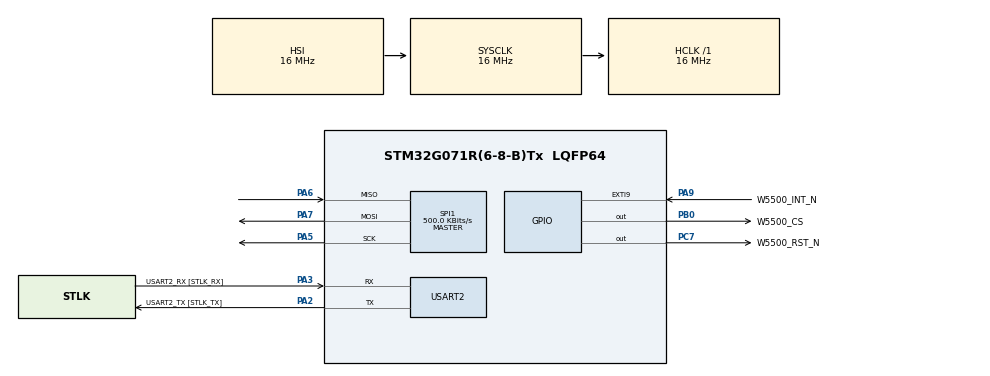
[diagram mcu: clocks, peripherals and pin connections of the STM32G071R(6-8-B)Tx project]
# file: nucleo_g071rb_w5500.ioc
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Dma.Request0=SPI1_TX
Dma.Request1=SPI1_RX
Dma.SPI1_RX.1.Direction=DMA_PERIPH_TO_MEMORY
Dma.SPI1_RX.1.EventEnable=DISABLE
Dma.SPI1_RX.1.Instance=DMA1_Channel2
Dma.SPI1_RX.1.MemDataAlignment=DMA_MDATAALIGN_BYTE
Dma.SPI1_RX.1.MemInc=DMA_MINC_ENABLE
Dma.SPI1_RX.1.Mode=DMA_NORMAL
Dma.SPI1_RX.1.PeriphDataAlignment=DMA_PDATAALIGN_BYTE
Dma.SPI1_RX.1.PeriphInc=DMA_PINC_DISABLE
Dma.SPI1_RX.1.Polarity=HAL_DMAMUX_REQ_GEN_RISING
Dma.SPI1_RX.1.Priority=DMA_PRIORITY_HIGH
Dma.SPI1_RX.1.RequestNumber=1
Dma.SPI1_RX.1.SignalID=NONE
Dma.SPI1_RX.1.SyncEnable=DISABLE
Dma.SPI1_RX.1.SyncPolarity=HAL_DMAMUX_SYNC_NO_EVENT
Dma.SPI1_RX.1.SyncRequestNumber=1
Dma.SPI1_RX.1.SyncSignalID=NONE
Dma.SPI1_TX.0.Direction=DMA_MEMORY_TO_PERIPH
Dma.SPI1_TX.0.EventEnable=DISABLE
Dma.SPI1_TX.0.Instance=DMA1_Channel3
Dma.SPI1_TX.0.MemDataAlignment=DMA_MDATAALIGN_BYTE
Dma.SPI1_TX.0.MemInc=DMA_MINC_ENABLE
Dma.SPI1_TX.0.Mode=DMA_NORMAL
Dma.SPI1_TX.0.PeriphDataAlignment=DMA_PDATAALIGN_BYTE
Dma.SPI1_TX.0.PeriphInc=DMA_PINC_DISABLE
Dma.SPI1_TX.0.Polarity=HAL_DMAMUX_REQ_GEN_RISING
Dma.SPI1_TX.0.Priority=DMA_PRIORITY_LOW
Dma.SPI1_TX.0.RequestNumber=1
Dma.SPI1_TX.0.SignalID=NONE
Dma.SPI1_TX.0.SyncEnable=DISABLE
Dma.SPI1_TX.0.SyncPolarity=HAL_DMAMUX_SYNC_NO_EVENT
Dma.SPI1_TX.0.SyncRequestNumber=1
Dma.SPI1_TX.0.SyncSignalID=NONE
FREERTOS.HEAP_NUMBER=4
FREERTOS.INCLUDE_eTaskGetState=1
FREERTOS.INCLUDE_pcTaskGetTaskName=0
FREERTOS.INCLUDE_uxTaskGetStackHighWaterMark=1
FREERTOS.INCLUDE_uxTaskGetStackHighWaterMark2=0
FREERTOS.INCLUDE_uxTaskPriorityGet=1
FREERTOS.INCLUDE_vTaskCleanUpResources=1
FREERTOS.INCLUDE_vTaskDelay=1
FREERTOS.INCLUDE_vTaskDelayUntil=1
FREERTOS.INCLUDE_vTaskDelete=1
FREERTOS.INCLUDE_vTaskPrioritySet=1
FREERTOS.INCLUDE_vTaskSuspend=1
FREERTOS.INCLUDE_xEventGroupSetBitFromISR=0
FREERTOS.INCLUDE_xQueueGetMutexHolder=1
FREERTOS.INCLUDE_xSemaphoreGetMutexHolder=0
FREERTOS.INCLUDE_xTaskAbortDelay=0
FREERTOS.INCLUDE_xTaskGetHandle=0
FREERTOS.INCLUDE_xTaskGetSchedulerState=1
FREERTOS.INCLUDE_xTaskResumeFromISR=1
FREERTOS.INCLUDE_xTimerPendFunctionCall=1
FREERTOS.Tasks01=NetTask,40,256,StartNetTask,Default,NULL,Dynamic,NULL,NULL;ScpiShortTask,32,384,StartScpiShortTask,Default,NULL,Dynamic,NULL,NULL;ScpiLongTask,24,384,StartScpiLongTask,Default,NULL,Dynamic,NULL,NULL;HousekeepTask,8,256,StartHousekeepTask,Default,NULL,Dynamic,NULL,NULL
FREERTOS.configCHECK_FOR_STACK_OVERFLOW=2
FREERTOS.configENABLE_BACKWARD_COMPATIBILITY=0
FREERTOS.configENABLE_FPU=0
FREERTOS.configGENERATE_RUN_TIME_STATS=0
FREERTOS.configIDLE_SHOULD_YIELD=1
FREERTOS.configLIBRARY_LOWEST_INTERRUPT_PRIORITY=7
FREERTOS.configLIBRARY_MAX_SYSCALL_INTERRUPT_PRIORITY=3
FREERTOS.configMAX_CO_ROUTINE_PRIORITIES=2
FREERTOS.configMAX_TASK_NAME_LEN=16
FREERTOS.configMINIMAL_STACK_SIZE=96
FREERTOS.configQUEUE_REGISTRY_SIZE=8
FREERTOS.configRECORD_STACK_HIGH_ADDRESS=0
FREERTOS.configTICK_RATE_HZ=1000
FREERTOS.configTIMER_QUEUE_LENGTH=10
FREERTOS.configTIMER_TASK_PRIORITY=2
FREERTOS.configTIMER_TASK_STACK_DEPTH=128
FREERTOS.configTOTAL_HEAP_SIZE=12000
FREERTOS.configUSE_APPLICATION_TASK_TAG=0
FREERTOS.configUSE_COUNTING_SEMAPHORES=1
FREERTOS.configUSE_CO_ROUTINES=0
FREERTOS.configUSE_DAEMON_TASK_STARTUP_HOOK=0
FREERTOS.configUSE_IDLE_HOOK=0
FREERTOS.configUSE_MALLOC_FAILED_HOOK=0
FREERTOS.configUSE_MUTEXES=1
FREERTOS.configUSE_NEWLIB_REENTRANT=0
FREERTOS.configUSE_POSIX_ERRNO=0
FREERTOS.configUSE_PREEMPTION=1
FREERTOS.configUSE_RECURSIVE_MUTEXES=1
FREERTOS.configUSE_STATS_FORMATTING_FUNCTIONS=0
FREERTOS.configUSE_TASK_NOTIFICATIONS=1
FREERTOS.configUSE_TICKLESS_IDLE=0
FREERTOS.configUSE_TICK_HOOK=0
FREERTOS.configUSE_TRACE_FACILITY=0
FREERTOS.copyHeapFile=1
Mcu.Family=STM32G0
Mcu.Name=STM32G071R(6-8-B)Tx
Mcu.Package=LQFP64
NVIC.DMA1_Channel2_3_IRQn=true\:3\:0\:false\:false\:true\:true\:true\:true\:true
NVIC.EXTI4_15_IRQn=true\:3\:0\:false\:false\:true\:true\:true\:true\:true
NVIC.TIM2_IRQn=true\:0\:0\:true\:false\:true\:true\:true\:true\:true
NVIC.TIM6_DAC_LPTIM1_IRQn=true\:0\:0\:false\:false\:true\:false\:true\:true\:true
NVIC.TimeBase=TIM6_DAC_LPTIM1_IRQn
NVIC.TimeBaseIP=TIM6
PA13.GPIO_Label=TMS
PA13.Mode=Serial_Wire
PA13.Signal=SYS_SWDIO
PA14-BOOT0.GPIO_Label=TCK
PA14-BOOT0.Mode=Serial_Wire
PA14-BOOT0.Signal=SYS_SWCLK
PA2.GPIO_Label=USART2_TX [STLK_TX]
PA2.GPIO_PuPd=GPIO_PULLUP
PA2.Mode=Asynchronous
PA2.Signal=USART2_TX
PA3.GPIO_Label=USART2_RX [STLK_RX]
PA3.GPIO_PuPd=GPIO_PULLUP
PA3.Mode=Asynchronous
PA3.Signal=USART2_RX
PA5.GPIO_PuPd=GPIO_PULLDOWN
PA5.Mode=Full_Duplex_Master
PA5.Signal=SPI1_SCK
PA6.GPIO_PuPd=GPIO_PULLDOWN
PA6.Mode=Full_Duplex_Master
PA6.Signal=SPI1_MISO
PA7.GPIO_PuPd=GPIO_PULLDOWN
PA7.Mode=Full_Duplex_Master
PA7.Signal=SPI1_MOSI
PA9.GPIO_Label=W5500_INT_N
PA9.GPIO_ModeDefaultEXTI=GPIO_MODE_IT_FALLING
PA9.GPIO_PuPd=GPIO_PULLUP
PA9.Signal=GPXTI9
PB0.GPIO_Label=W5500_CS
PB0.Signal=GPIO_Output
PC13.Mode=SYS_WakeUp1
PC13.Signal=SYS_WKUP2
PC14-OSC32_IN\ (PC14).Mode=LSE-External-Oscillator
PC14-OSC32_IN\ (PC14).Signal=RCC_OSC32_IN
PC15-OSC32_OUT\ (PC15).Mode=LSE-External-Oscillator
PC15-OSC32_OUT\ (PC15).Signal=RCC_OSC32_OUT
PC7.GPIO_Label=W5500_RST_N
PC7.Signal=GPIO_Output
PF0-OSC_IN\ (PF0).GPIO_Label=MCO
PF0-OSC_IN\ (PF0).Mode=HSE-External-Clock-Source
PF0-OSC_IN\ (PF0).Signal=RCC_OSC_IN
ProjectManager.HeapSize=0x200
ProjectManager.StackSize=0x400
ProjectManager.TargetToolchain=STM32CubeIDE
RCC.AHBFreq_Value=16000000
RCC.CortexFreq_Value=16000000
RCC.EXTERNAL_CLOCK_VALUE=12288000
RCC.HCLKFreq_Value=16000000
RCC.HSE_VALUE=8000000
RCC.HSI_VALUE=16000000
RCC.SYSCLKFreq_VALUE=16000000
RCC.VCOOutputFreq_Value=128000000
SPI1.BaudRatePrescaler=SPI_BAUDRATEPRESCALER_32
SPI1.CLKPhase=SPI_PHASE_1EDGE
SPI1.CLKPolarity=SPI_POLARITY_LOW
SPI1.CRCCalculation=SPI_CRCCALCULATION_DISABLE
SPI1.CalculateBaudRate=500.0 KBits/s
SPI1.DataSize=SPI_DATASIZE_8BIT
SPI1.Direction=SPI_DIRECTION_2LINES
SPI1.FirstBit=SPI_FIRSTBIT_MSB
SPI1.GPIO_SPEED=GPIO_SPEED_FREQ_VERY_HIGH
SPI1.Mode=SPI_MODE_MASTER
SPI1.NSS=SPI_NSS_SOFT
SPI1.NSSPMode=SPI_NSS_PULSE_DISABLE
SPI1.TIMode=SPI_TIMODE_DISABLE
SPI1.VirtualType=VM_MASTER
TIM2.Period=4294967295
TIM2.Prescaler=15
USART2.VirtualMode-Asynchronous=VM_ASYNC
VP_FREERTOS_VS_CMSIS_V2.Mode=CMSIS_V2
VP_SYS_VS_tim6.Mode=TIM6
VP_TIM2_VS_ClockSourceINT.Mode=Internal
board=NUCLEO-G071RB

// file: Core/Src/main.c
/* USER CODE BEGIN Header */
/**
  ******************************************************************************
  * @file           : main.c
  * @brief          : Main program body
  ******************************************************************************
  * @attention
  *
  * Copyright (c) 2026 STMicroelectronics.
  * All rights reserved.
  *
  * This software is licensed under terms that can be found in the LICENSE file
  * in the root directory of this software component.
  * If no LICENSE file comes with this software, it is provided AS-IS.
  *
  ******************************************************************************
  */
/* USER CODE END Header */
#include "main.h"
#include "cmsis_os.h"

/* USER CODE BEGIN Includes */
#include "app_main.h"
#include "app_tasks.h"
#include <stdio.h>
/* USER CODE END Includes */

SPI_HandleTypeDef hspi1;
DMA_HandleTypeDef hdma_spi1_tx;
DMA_HandleTypeDef hdma_spi1_rx;

TIM_HandleTypeDef htim2;

UART_HandleTypeDef huart2;

/* Definitions for NetTask */
osThreadId_t NetTaskHandle;
const osThreadAttr_t NetTask_attributes = {
  .name = "NetTask",
  .priority = (osPriority_t) osPriorityHigh,
  /* Bumped from 256*4: this task was already down to 248 bytes free at the
   * old size (see STACK Net: in diagnostic logs) before telnet_socket_poll()/
   * http_socket_poll() added more locals to its call chain each poll cycle,
   * which was overflowing it (see configCHECK_FOR_STACK_OVERFLOW's hook in
   * app_freertos.c) and crash-looping the board before DHCP ever completed. */
  .stack_size = 512 * 4
};
/* Definitions for ScpiLongTask (renamed from ScpiTask: it never parsed SCPI,
 * it only ever ran the long-running led_bench loop — see
 * openspec/changes/nettask-scpi-task-split). Priority dropped from
 * AboveNormal to Normal since ScpiShortTask now takes the AboveNormal slot
 * for interactive command parsing. */
osThreadId_t ScpiLongTaskHandle;
const osThreadAttr_t ScpiLongTask_attributes = {
  .name = "ScpiLongTask",
  .priority = (osPriority_t) osPriorityNormal,
  .stack_size = 384 * 4
};
/* Definitions for ScpiShortTask. Owns the scpi_t parser context and short
 * command dispatch — see openspec/changes/nettask-scpi-task-split. */
osThreadId_t ScpiShortTaskHandle;
const osThreadAttr_t ScpiShortTask_attributes = {
  .name = "ScpiShortTask",
  .priority = (osPriority_t) osPriorityAboveNormal,
  /* Bumped from 384*4: observed down to 32 bytes free (see STACK ScpiShort:
   * in diagnostic logs) while processing a semicolon-chained multi-command
   * SCPI line (up to 3 commands/line needs to be supported) — far too close
   * to an actual overflow, which on FreeRTOS corrupts whatever's adjacent in
   * RAM rather than failing cleanly. Paid for by removing TelnetTask and its
   * two queues (not needed — telnet support has been dropped entirely, see
   * L2_Service/telnet_* removal), which freed up more heap than this adds
   * back. */
  .stack_size = 768 * 4
};
/* Definitions for HousekeepTask */
osThreadId_t HousekeepTaskHandle;
const osThreadAttr_t HousekeepTask_attributes = {
  .name = "HousekeepTask",
  .priority = (osPriority_t) osPriorityLow,
  .stack_size = 256 * 4
};
/* USER CODE BEGIN PV */

/* Not CubeMX-generated: IWDG isn't in the .ioc (no peripheral added via the
 * CubeMX GUI), so this handle/init/call are all hand-added inside USER CODE
 * markers to survive regeneration. If IWDG is ever added properly via the
 * .ioc, remove these in favor of the generated MX_IWDG_Init(). */
IWDG_HandleTypeDef hiwdg;

/* Not CubeMX-generated either, same reasoning: HttpTask isn't in the .ioc's
 * FreeRTOS task list, so its handle/attributes/creation are hand-added inside
 * USER CODE markers to survive regeneration instead of living in the
 * generated block below with NetTask/ScpiShortTask/etc. app_http_task()
 * itself (the actual thread body) lives in L3_App/app_tasks.c, same as every
 * other task here — passed directly to osThreadNew() with no StartXxxTask
 * wrapper since that indirection only exists for CubeMX's own generated
 * threads. If HttpTask is ever added properly via the .ioc, remove this in
 * favor of the generated definition. */
osThreadId_t HttpTaskHandle;
const osThreadAttr_t HttpTask_attributes = {
  .name = "HttpTask",
  .priority = (osPriority_t) osPriorityNormal,
  .stack_size = 384 * 4
};

/* USER CODE END PV */

void SystemClock_Config(void);
static void MX_GPIO_Init(void);
static void MX_DMA_Init(void);
static void MX_SPI1_Init(void);
static void MX_USART2_UART_Init(void);
static void MX_TIM2_Init(void);
void StartNetTask(void *argument);
void StartScpiShortTask(void *argument);
void StartScpiLongTask(void *argument);
void StartHousekeepTask(void *argument);

/* USER CODE BEGIN PFP */
static void MX_IWDG_Init(void);
/* USER CODE END PFP */

int main(void)
{

  /* MCU Configuration--------------------------------------------------------*/

  /* Reset of all peripherals, Initializes the Flash interface and the Systick. */
  HAL_Init();

  /* Configure the system clock */
  SystemClock_Config();

  /* Initialize all configured peripherals */
  MX_GPIO_Init();
  MX_DMA_Init();
  MX_SPI1_Init();
  MX_USART2_UART_Init();
  MX_TIM2_Init();
  /* USER CODE BEGIN 2 */
  MX_IWDG_Init();

  /* Diagnostic: log *why* the MCU just reset, before anything has a chance
   * to clear it. RCC_CSR's reset-cause flags are sticky across resets until
   * software explicitly clears them, so without this every reboot looks
   * identical in the log no matter what caused it. Calling HAL_UART_Transmit
   * directly (not uart_log_write()): this source folder's build config has
   * no L1_Driver include path (by design — see app_iwdg_refresh()/
   * app_read_w5500_int_pin() below for the established pattern of keeping
   * L1_Driver headers out of here), and huart2 is already this file's own
   * handle. */
  {
      char reset_buf[112];
      int reset_n = snprintf(reset_buf, sizeof(reset_buf),
          "RESET CAUSE: PWR=%d PIN=%d IWDG=%d WWDG=%d SFT=%d LPWR=%d OBL=%d\r\n",
          __HAL_RCC_GET_FLAG(RCC_FLAG_PWRRST)  ? 1 : 0,
          __HAL_RCC_GET_FLAG(RCC_FLAG_PINRST)  ? 1 : 0,
          __HAL_RCC_GET_FLAG(RCC_FLAG_IWDGRST) ? 1 : 0,
          __HAL_RCC_GET_FLAG(RCC_FLAG_WWDGRST) ? 1 : 0,
          __HAL_RCC_GET_FLAG(RCC_FLAG_SFTRST)  ? 1 : 0,
          __HAL_RCC_GET_FLAG(RCC_FLAG_LPWRRST) ? 1 : 0,
          __HAL_RCC_GET_FLAG(RCC_FLAG_OBLRST)  ? 1 : 0);
      if (reset_n > 0) {
          HAL_UART_Transmit(&huart2, (uint8_t *)reset_buf, (uint16_t)reset_n, HAL_MAX_DELAY);
      }
      __HAL_RCC_CLEAR_RESET_FLAGS();
  }
  /* USER CODE END 2 */

  /* Init scheduler */
  osKernelInitialize();

  /* USER CODE BEGIN RTOS_MUTEX */
  /* app_init() now creates osMutex objects (e.g. led_bench_init()), which
   * need the kernel initialized first — moved here from right after
   * MX_IWDG_Init() above, since that ran before osKernelInitialize(). */
  app_init();
  /* USER CODE END RTOS_MUTEX */

  /* Create the thread(s) */
  /* creation of NetTask */
  NetTaskHandle = osThreadNew(StartNetTask, NULL, &NetTask_attributes);

  /* creation of ScpiShortTask */
  ScpiShortTaskHandle = osThreadNew(StartScpiShortTask, NULL, &ScpiShortTask_attributes);

  /* creation of ScpiLongTask */
  ScpiLongTaskHandle = osThreadNew(StartScpiLongTask, NULL, &ScpiLongTask_attributes);

  /* creation of HousekeepTask */
  HousekeepTaskHandle = osThreadNew(StartHousekeepTask, NULL, &HousekeepTask_attributes);

  /* USER CODE BEGIN RTOS_THREADS */
  /* creation of HttpTask (hand-added, see note by HttpTaskHandle's declaration) */
  HttpTaskHandle = osThreadNew(app_http_task, NULL, &HttpTask_attributes);
  /* USER CODE END RTOS_THREADS */

  /* Start scheduler */
  osKernelStart();

  /* We should never get here as control is now taken by the scheduler */

  /* Infinite loop */
  while (1)
  {

  }
}

void SystemClock_Config(void)
{
  RCC_OscInitTypeDef RCC_OscInitStruct = {0};
  RCC_ClkInitTypeDef RCC_ClkInitStruct = {0};

  /** Configure the main internal regulator output voltage
  */
  HAL_PWREx_ControlVoltageScaling(PWR_REGULATOR_VOLTAGE_SCALE1);

  /** Initializes the RCC Oscillators according to the specified parameters
  * in the RCC_OscInitTypeDef structure.
  */
  RCC_OscInitStruct.OscillatorType = RCC_OSCILLATORTYPE_HSI;
  RCC_OscInitStruct.HSIState = RCC_HSI_ON;
  RCC_OscInitStruct.HSIDiv = RCC_HSI_DIV1;
  RCC_OscInitStruct.HSICalibrationValue = RCC_HSICALIBRATION_DEFAULT;
  RCC_OscInitStruct.PLL.PLLState = RCC_PLL_NONE;
  if (HAL_RCC_OscConfig(&RCC_OscInitStruct) != HAL_OK)
  {
    Error_Handler();
  }

  /** Initializes the CPU, AHB and APB buses clocks
  */
  RCC_ClkInitStruct.ClockType = RCC_CLOCKTYPE_HCLK|RCC_CLOCKTYPE_SYSCLK
                              |RCC_CLOCKTYPE_PCLK1;
  RCC_ClkInitStruct.SYSCLKSource = RCC_SYSCLKSOURCE_HSI;
  RCC_ClkInitStruct.AHBCLKDivider = RCC_SYSCLK_DIV1;
  RCC_ClkInitStruct.APB1CLKDivider = RCC_HCLK_DIV1;

  if (HAL_RCC_ClockConfig(&RCC_ClkInitStruct, FLASH_LATENCY_0) != HAL_OK)
  {
    Error_Handler();
  }
}

static void MX_SPI1_Init(void)
{

  /* SPI1 parameter configuration*/
  hspi1.Instance = SPI1;
  hspi1.Init.Mode = SPI_MODE_MASTER;
  hspi1.Init.Direction = SPI_DIRECTION_2LINES;
  hspi1.Init.DataSize = SPI_DATASIZE_8BIT;
  hspi1.Init.CLKPolarity = SPI_POLARITY_LOW;
  hspi1.Init.CLKPhase = SPI_PHASE_1EDGE;
  hspi1.Init.NSS = SPI_NSS_SOFT;
  hspi1.Init.BaudRatePrescaler = SPI_BAUDRATEPRESCALER_32;
  hspi1.Init.FirstBit = SPI_FIRSTBIT_MSB;
  hspi1.Init.TIMode = SPI_TIMODE_DISABLE;
  hspi1.Init.CRCCalculation = SPI_CRCCALCULATION_DISABLE;
  hspi1.Init.CRCPolynomial = 7;
  hspi1.Init.CRCLength = SPI_CRC_LENGTH_DATASIZE;
  hspi1.Init.NSSPMode = SPI_NSS_PULSE_DISABLE;
  if (HAL_SPI_Init(&hspi1) != HAL_OK)
  {
    Error_Handler();
  }

}

static void MX_TIM2_Init(void)
{

  TIM_ClockConfigTypeDef sClockSourceConfig = {0};
  TIM_MasterConfigTypeDef sMasterConfig = {0};

  htim2.Instance = TIM2;
  htim2.Init.Prescaler = 15;
  htim2.Init.CounterMode = TIM_COUNTERMODE_UP;
  htim2.Init.Period = 4294967295;
  htim2.Init.ClockDivision = TIM_CLOCKDIVISION_DIV1;
  htim2.Init.AutoReloadPreload = TIM_AUTORELOAD_PRELOAD_DISABLE;
  if (HAL_TIM_Base_Init(&htim2) != HAL_OK)
  {
    Error_Handler();
  }
  sClockSourceConfig.ClockSource = TIM_CLOCKSOURCE_INTERNAL;
  if (HAL_TIM_ConfigClockSource(&htim2, &sClockSourceConfig) != HAL_OK)
  {
    Error_Handler();
  }
  sMasterConfig.MasterOutputTrigger = TIM_TRGO_RESET;
  sMasterConfig.MasterSlaveMode = TIM_MASTERSLAVEMODE_DISABLE;
  if (HAL_TIMEx_MasterConfigSynchronization(&htim2, &sMasterConfig) != HAL_OK)
  {
    Error_Handler();
  }

}

static void MX_USART2_UART_Init(void)
{

  huart2.Instance = USART2;
  huart2.Init.BaudRate = 115200;
  huart2.Init.WordLength = UART_WORDLENGTH_8B;
  huart2.Init.StopBits = UART_STOPBITS_1;
  huart2.Init.Parity = UART_PARITY_NONE;
  huart2.Init.Mode = UART_MODE_TX_RX;
  huart2.Init.HwFlowCtl = UART_HWCONTROL_NONE;
  huart2.Init.OverSampling = UART_OVERSAMPLING_16;
  huart2.Init.OneBitSampling = UART_ONE_BIT_SAMPLE_DISABLE;
  huart2.Init.ClockPrescaler = UART_PRESCALER_DIV1;
  huart2.AdvancedInit.AdvFeatureInit = UART_ADVFEATURE_NO_INIT;
  if (HAL_UART_Init(&huart2) != HAL_OK)
  {
    Error_Handler();
  }
  if (HAL_UARTEx_SetTxFifoThreshold(&huart2, UART_TXFIFO_THRESHOLD_1_8) != HAL_OK)
  {
    Error_Handler();
  }
  if (HAL_UARTEx_SetRxFifoThreshold(&huart2, UART_RXFIFO_THRESHOLD_1_8) != HAL_OK)
  {
    Error_Handler();
  }
  if (HAL_UARTEx_DisableFifoMode(&huart2) != HAL_OK)
  {
    Error_Handler();
  }

}

static void MX_DMA_Init(void)
{

  /* DMA controller clock enable */
  __HAL_RCC_DMA1_CLK_ENABLE();

  /* DMA interrupt init */
  /* DMA1_Channel2_3_IRQn interrupt configuration */
  HAL_NVIC_SetPriority(DMA1_Channel2_3_IRQn, 3, 0);
  HAL_NVIC_EnableIRQ(DMA1_Channel2_3_IRQn);

}

static void MX_GPIO_Init(void)
{
  GPIO_InitTypeDef GPIO_InitStruct = {0};

  /* GPIO Ports Clock Enable */
  __HAL_RCC_GPIOC_CLK_ENABLE();
  __HAL_RCC_GPIOF_CLK_ENABLE();
  __HAL_RCC_GPIOA_CLK_ENABLE();
  __HAL_RCC_GPIOB_CLK_ENABLE();

  /*Configure GPIO pin Output Level */
  HAL_GPIO_WritePin(W5500_CS_GPIO_Port, W5500_CS_Pin, GPIO_PIN_RESET);

  /*Configure GPIO pin Output Level */
  HAL_GPIO_WritePin(W5500_RST_N_GPIO_Port, W5500_RST_N_Pin, GPIO_PIN_RESET);

  /*Configure GPIO pin : W5500_CS_Pin */
  GPIO_InitStruct.Pin = W5500_CS_Pin;
  GPIO_InitStruct.Mode = GPIO_MODE_OUTPUT_PP;
  GPIO_InitStruct.Pull = GPIO_NOPULL;
  GPIO_InitStruct.Speed = GPIO_SPEED_FREQ_LOW;
  HAL_GPIO_Init(W5500_CS_GPIO_Port, &GPIO_InitStruct);

  /*Configure GPIO pin : W5500_INT_N_Pin */
  GPIO_InitStruct.Pin = W5500_INT_N_Pin;
  GPIO_InitStruct.Mode = GPIO_MODE_IT_FALLING;
  GPIO_InitStruct.Pull = GPIO_PULLUP;
  HAL_GPIO_Init(W5500_INT_N_GPIO_Port, &GPIO_InitStruct);

  /*Configure GPIO pin : W5500_RST_N_Pin */
  GPIO_InitStruct.Pin = W5500_RST_N_Pin;
  GPIO_InitStruct.Mode = GPIO_MODE_OUTPUT_PP;
  GPIO_InitStruct.Pull = GPIO_NOPULL;
  GPIO_InitStruct.Speed = GPIO_SPEED_FREQ_LOW;
  HAL_GPIO_Init(W5500_RST_N_GPIO_Port, &GPIO_InitStruct);

  /* EXTI interrupt init*/
  HAL_NVIC_SetPriority(EXTI4_15_IRQn, 3, 0);
  HAL_NVIC_EnableIRQ(EXTI4_15_IRQn);

  /* USER CODE BEGIN MX_GPIO_Init_2 */
  /* Hand-added TEST_LED (PA4), see note by its define in main.h. */
  HAL_GPIO_WritePin(TEST_LED_GPIO_Port, TEST_LED_Pin, GPIO_PIN_RESET);
  GPIO_InitStruct.Pin = TEST_LED_Pin;
  GPIO_InitStruct.Mode = GPIO_MODE_OUTPUT_PP;
  GPIO_InitStruct.Pull = GPIO_NOPULL;
  GPIO_InitStruct.Speed = GPIO_SPEED_FREQ_LOW;
  HAL_GPIO_Init(TEST_LED_GPIO_Port, &GPIO_InitStruct);
  /* USER CODE END MX_GPIO_Init_2 */
}

/* USER CODE BEGIN 4 */

/**
  * @brief  IWDG init (hand-added, see note by the hiwdg declaration). Backstop
  * against any single SPI misread wedging NetTask forever (the specific case
  * fixed in w5500_hardened_recv()) and against the same unbounded
  * while(getSn_CR()) pattern that also exists ~20 times in the vendored
  * ioLibrary socket.c, which isn't practical to audit/patch exhaustively.
  * ~4 s timeout, refreshed every ~1 s from app_housekeep_task — the lowest
  * priority task, so it stops getting CPU time (and therefore stops
  * refreshing) as soon as any higher-priority task starves it by spinning.
  */
static void MX_IWDG_Init(void)
{
  hiwdg.Instance = IWDG;
  hiwdg.Init.Prescaler = IWDG_PRESCALER_32;
  hiwdg.Init.Window = IWDG_WINDOW_DISABLE;
  hiwdg.Init.Reload = 4000;
  if (HAL_IWDG_Init(&hiwdg) != HAL_OK)
  {
    Error_Handler();
  }
}

/* Plain wrapper so app_tasks.c (L3_App) doesn't need to include main.h —
 * that source folder's CubeIDE build config doesn't have the HAL driver
 * include path, only Core's does. */
void app_iwdg_refresh(void)
{
  HAL_IWDG_Refresh(&hiwdg);
}

int app_read_w5500_int_pin(void)
{
  return (int)HAL_GPIO_ReadPin(W5500_INT_N_GPIO_Port, W5500_INT_N_Pin);
}

/* USER CODE END 4 */

void StartNetTask(void *argument)
{
  /* USER CODE BEGIN 5 */
  app_net_task(argument);
  /* USER CODE END 5 */
}

void StartScpiShortTask(void *argument)
{
  /* USER CODE BEGIN StartScpiShortTask */
  app_scpi_short_task(argument);
  /* USER CODE END StartScpiShortTask */
}

void StartScpiLongTask(void *argument)
{
  /* USER CODE BEGIN StartScpiLongTask */
  app_scpi_long_task(argument);
  /* USER CODE END StartScpiLongTask */
}

void StartHousekeepTask(void *argument)
{
  /* USER CODE BEGIN StartHousekeepTask */
  app_housekeep_task(argument);
  /* USER CODE END StartHousekeepTask */
}

void HAL_TIM_PeriodElapsedCallback(TIM_HandleTypeDef *htim)
{
  if (htim->Instance == TIM6)
  {
    HAL_IncTick();
  }
}

void Error_Handler(void)
{
  __disable_irq();
  while (1)
  {
  }
}

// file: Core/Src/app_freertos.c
/* USER CODE BEGIN Header */
/**
  ******************************************************************************
  * File Name          : app_freertos.c
  * Description        : Code for freertos applications
  ******************************************************************************
  * @attention
  *
  * Copyright (c) 2026 STMicroelectronics.
  * All rights reserved.
  *
  * This software is licensed under terms that can be found in the LICENSE file
  * in the root directory of this software component.
  * If no LICENSE file comes with this software, it is provided AS-IS.
  *
  ******************************************************************************
  */
/* USER CODE END Header */

#include "FreeRTOS.h"
#include "task.h"
#include "main.h"

/* Hook prototypes */
void vApplicationStackOverflowHook(TaskHandle_t xTask, signed char *pcTaskName);

/* USER CODE BEGIN 4 */
void vApplicationStackOverflowHook(TaskHandle_t xTask, signed char *pcTaskName)
{
   /* Run time stack overflow checking is performed if
   configCHECK_FOR_STACK_OVERFLOW is defined to 1 or 2. This hook function is
   called if a stack overflow is detected. */

   /* Deliberately not trying to log pcTaskName or anything else here — by
    * the time this fires, memory next to the overflowing task's stack may
    * already be corrupted, and doing more work on a corrupted stack risks
    * making things worse. Same halt-and-let-IWDG-reset pattern as
    * Error_Handler(): this stops the system cleanly instead of silently
    * continuing on corrupted memory (which is what used to happen here,
    * and looked like unrelated flaky bugs elsewhere). */
   (void)xTask;
   (void)pcTaskName;
   __disable_irq();
   for (;;) {
   }
}
/* USER CODE END 4 */
